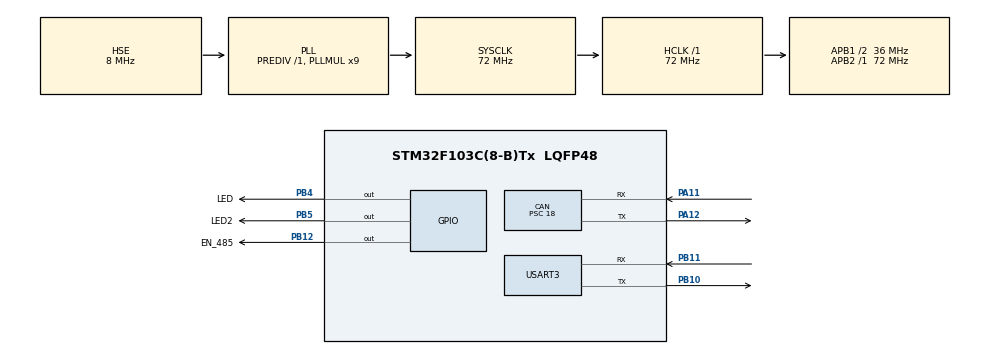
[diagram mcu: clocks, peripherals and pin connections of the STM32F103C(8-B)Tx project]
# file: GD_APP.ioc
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CAN.BS1=CAN_BS1_7TQ
CAN.BS2=CAN_BS2_8TQ
CAN.CalculateBaudRate=125000
CAN.CalculateTimeBit=8000
CAN.CalculateTimeQuantum=500.0
CAN.Prescaler=18
Mcu.Family=STM32F1
Mcu.Name=STM32F103C(8-B)Tx
Mcu.Package=LQFP48
NVIC.PriorityGroup=NVIC_PRIORITYGROUP_4
NVIC.USB_LP_CAN1_RX0_IRQn=true\:0\:0\:false\:false\:true\:true\:true\:true
PA11.Mode=CAN_Activate
PA11.Signal=CAN_RX
PA12.Mode=CAN_Activate
PA12.Signal=CAN_TX
PA13.Mode=Serial_Wire
PA13.Signal=SYS_JTMS-SWDIO
PA14.Mode=Serial_Wire
PA14.Signal=SYS_JTCK-SWCLK
PB10.Mode=Asynchronous
PB10.Signal=USART3_TX
PB11.Mode=Asynchronous
PB11.Signal=USART3_RX
PB12.GPIO_Label=EN_485
PB12.Signal=GPIO_Output
PB4.GPIO_Label=LED
PB4.Signal=GPIO_Output
PB5.GPIO_Label=LED2
PB5.Signal=GPIO_Output
PD0-OSC_IN.Mode=HSE-External-Oscillator
PD0-OSC_IN.Signal=RCC_OSC_IN
PD1-OSC_OUT.Mode=HSE-External-Oscillator
PD1-OSC_OUT.Signal=RCC_OSC_OUT
ProjectManager.HeapSize=0x200
ProjectManager.StackSize=0x1000
ProjectManager.TargetToolchain=EWARM V8.32
RCC.AHBFreq_Value=72000000
RCC.APB1CLKDivider=RCC_HCLK_DIV2
RCC.APB1Freq_Value=36000000
RCC.APB1TimFreq_Value=72000000
RCC.APB2Freq_Value=72000000
RCC.APB2TimFreq_Value=72000000
RCC.HCLKFreq_Value=72000000
RCC.PLLMUL=RCC_PLL_MUL9
RCC.PLLSourceVirtual=RCC_PLLSOURCE_HSE
RCC.SYSCLKFreq_VALUE=72000000
RCC.SYSCLKSource=RCC_SYSCLKSOURCE_PLLCLK
RCC.USBFreq_Value=72000000
USART3.VirtualMode=VM_ASYNC
board=custom

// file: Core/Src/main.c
/* USER CODE BEGIN Header */
/**
  ******************************************************************************
  * @file           : main.c
  * @brief          : Main program body
  ******************************************************************************
  * @attention
  *
  * Copyright (c) 2023 STMicroelectronics.
  * All rights reserved.
  *
  * This software is licensed under terms that can be found in the LICENSE file
  * in the root directory of this software component.
  * If no LICENSE file comes with this software, it is provided AS-IS.
  *
  ******************************************************************************
  */
/* USER CODE END Header */
#include "main.h"
#include "can.h"
#include "usart.h"
#include "gpio.h"

/* USER CODE BEGIN Includes */
#include "rs485.h"
#include "can_txrx.h"
#include "rs485.h"
#include "flash_if.h"
/* USER CODE END Includes */

/* USER CODE BEGIN PM */
SystemParamTypeDef g_SystemParam;
#define APP_VERSION_MAJOR 1U
#define APP_VERSION_MINOR 8U
#pragma location = 0x80083FE
__root const uint16_t gAppVersion = USER_MAKE_VERSION(APP_VERSION_MAJOR, APP_VERSION_MINOR);

/* USER CODE END PM */

void SystemClock_Config(void);

int main(void)
{
  /* USER CODE BEGIN 1 */
  __enable_irq();
  /* USER CODE END 1 */

  /* MCU Configuration--------------------------------------------------------*/

  /* Reset of all peripherals, Initializes the Flash interface and the Systick. */
  HAL_Init();

  /* USER CODE BEGIN Init */
  SCB->VTOR = FLASH_BASE | 0x8000;
  /* USER CODE END Init */

  /* Configure the system clock */
  SystemClock_Config();

  /* Initialize all configured peripherals */
  MX_GPIO_Init();
  MX_CAN_Init();
  MX_USART3_UART_Init();
  /* USER CODE BEGIN 2 */
  RS485SendData("This App\r\n", 10);
  CANFilterConfig_Scale32_IdMask_StandardIdOnly();
  CanFIFOInit();
  System_ParamReadCheck(&g_SystemParam);
  g_SystemParam.App_Status=APPLICATION_NORMAL;
  System_ParamUpdate(SYSTEMPARAM_ADDRESS,&g_SystemParam);
  /* USER CODE END 2 */

  /* Infinite loop */
  while (1)
  {

    /* USER CODE BEGIN 3 */

    SystemParam_IAP();
    HAL_GPIO_TogglePin(LED2_GPIO_Port,LED2_Pin);
    HAL_Delay(100);
  }
  /* USER CODE END 3 */
}

void SystemClock_Config(void)
{
  RCC_OscInitTypeDef RCC_OscInitStruct = {0};
  RCC_ClkInitTypeDef RCC_ClkInitStruct = {0};

  /** Initializes the RCC Oscillators according to the specified parameters
  * in the RCC_OscInitTypeDef structure.
  */
  RCC_OscInitStruct.OscillatorType = RCC_OSCILLATORTYPE_HSE;
  RCC_OscInitStruct.HSEState = RCC_HSE_ON;
  RCC_OscInitStruct.HSEPredivValue = RCC_HSE_PREDIV_DIV1;
  RCC_OscInitStruct.HSIState = RCC_HSI_ON;
  RCC_OscInitStruct.PLL.PLLState = RCC_PLL_ON;
  RCC_OscInitStruct.PLL.PLLSource = RCC_PLLSOURCE_HSE;
  RCC_OscInitStruct.PLL.PLLMUL = RCC_PLL_MUL9;
  if (HAL_RCC_OscConfig(&RCC_OscInitStruct) != HAL_OK)
  {
    Error_Handler();
  }

  /** Initializes the CPU, AHB and APB buses clocks
  */
  RCC_ClkInitStruct.ClockType = RCC_CLOCKTYPE_HCLK|RCC_CLOCKTYPE_SYSCLK
                              |RCC_CLOCKTYPE_PCLK1|RCC_CLOCKTYPE_PCLK2;
  RCC_ClkInitStruct.SYSCLKSource = RCC_SYSCLKSOURCE_PLLCLK;
  RCC_ClkInitStruct.AHBCLKDivider = RCC_SYSCLK_DIV1;
  RCC_ClkInitStruct.APB1CLKDivider = RCC_HCLK_DIV2;
  RCC_ClkInitStruct.APB2CLKDivider = RCC_HCLK_DIV1;

  if (HAL_RCC_ClockConfig(&RCC_ClkInitStruct, FLASH_LATENCY_2) != HAL_OK)
  {
    Error_Handler();
  }
}

void Error_Handler(void)
{
  __disable_irq();
  while (1)
  {
  }
}
